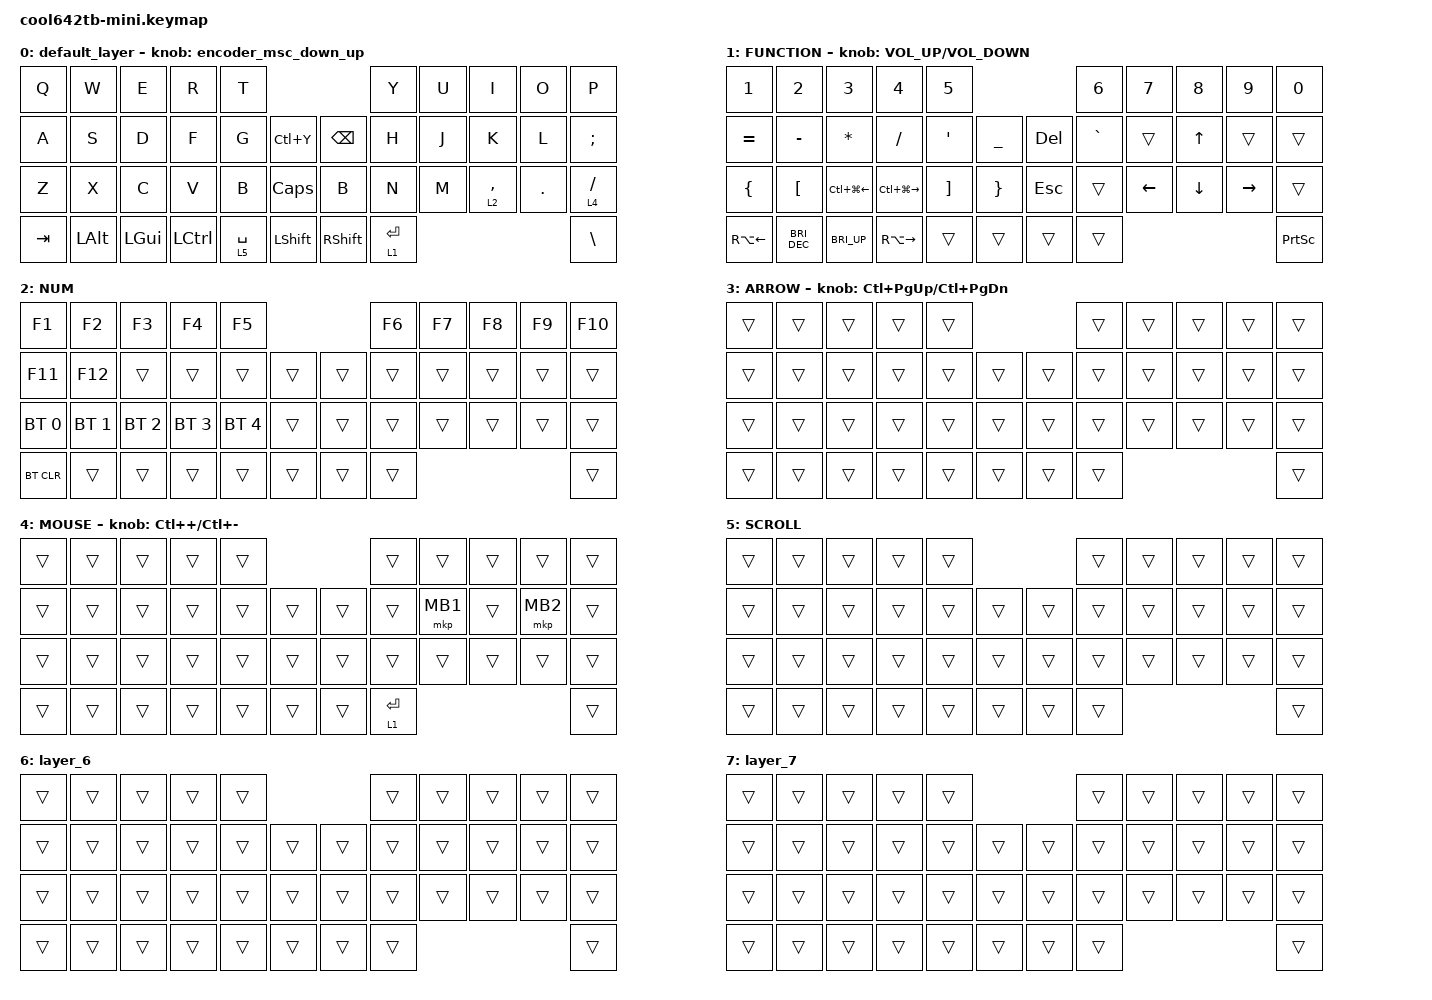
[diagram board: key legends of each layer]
#include <behaviors.dtsi>
#include <dt-bindings/zmk/bt.h>
#include <dt-bindings/zmk/keys.h>
#include <dt-bindings/zmk/pointing.h>

#define MOUSE 4
#define SCROLL 5
#define NUM 6
#define ZMK_POINTING_DEFAULT_SCRL_VAL 80

&mt {
    flavor = "balanced";
    quick-tap-ms = <0>;
};

/ {
    combos {
        compatible = "zmk,combos";

        shift_tab {
            bindings = <&kp LANG2>;
            key-positions = <12 13>;
            layers = <0>;
        };

        lang {
            bindings = <&kp LANG1>;
            key-positions = <18 19>;
            layers = <0>;
        };
    };

    behaviors {
        encoder_msc_down_up: encoder_msc_down_up {
            compatible = "zmk,behavior-sensor-rotate";
            label = "ENCODER_MSC_DOWN_UP";
            #sensor-binding-cells = <0>;
            bindings = <&msc SCRL_UP>, <&msc SCRL_DOWN>;

            tap-ms = <20>;
        };
    };

    keymap {
        compatible = "zmk,keymap";

        default_layer {
            bindings = <
&kp Q    &kp W         &kp E         &kp R             &kp T                                           &kp Y        &kp U  &kp I        &kp O       &kp P
&kp A    &kp S         &kp D         &kp F             &kp G        &kp LC(Y)           &kp BACKSPACE  &kp H        &kp J  &kp K        &kp L       &kp SEMICOLON
&kp Z    &kp X         &kp C         &kp V             &kp B        &kp CAPSLOCK        &kp B          &kp N        &kp M  &lt 2 COMMA  &kp PERIOD  &lt 4 SLASH
&kp TAB  &kp LEFT_ALT  &kp LEFT_GUI  &kp LEFT_CONTROL  &lt 5 SPACE  &kp LEFT_SHIFT      &kp RSHFT      &lt 1 ENTER                                  &kp BACKSLASH
            >;

            sensor-bindings = <&encoder_msc_down_up>;
        };

        FUNCTION {
            bindings = <
&kp N1              &kp N2                &kp N3                  &kp N4                   &kp N5                                              &kp N6     &kp N7          &kp N8          &kp N9           &kp N0
&kp EQUAL           &kp MINUS             &kp ASTRK               &kp SLASH                &kp APOS           &kp UNDER            &kp DELETE  &kp GRAVE  &trans          &kp UP_ARROW    &trans           &trans
&kp LEFT_BRACE      &kp LEFT_BRACKET      &kp LC(LG(LEFT_ARROW))  &kp LC(LG(RIGHT_ARROW))  &kp RIGHT_BRACKET  &kp RIGHT_BRACE      &kp ESCAPE  &trans     &kp LEFT_ARROW  &kp DOWN_ARROW  &kp RIGHT_ARROW  &trans
&kp RA(LEFT_ARROW)  &kp C_BRIGHTNESS_DEC  &kp C_BRI_UP            &kp RA(RIGHT_ARROW)      &trans             &trans               &trans      &trans                                                      &kp PRINTSCREEN
            >;

            sensor-bindings = <&inc_dec_kp C_VOLUME_UP C_VOLUME_DOWN>;
        };

        NUM {
            bindings = <
&kp F1        &kp F2        &kp F3        &kp F4        &kp F5                            &kp F6  &kp F7  &kp F8  &kp F9  &kp F10
&kp F11       &kp F12       &trans        &trans        &trans        &trans      &trans  &trans  &trans  &trans  &trans  &trans
&bt BT_SEL 0  &bt BT_SEL 1  &bt BT_SEL 2  &bt BT_SEL 3  &bt BT_SEL 4  &trans      &trans  &trans  &trans  &trans  &trans  &trans
&bt BT_CLR    &trans        &trans        &trans        &trans        &trans      &trans  &trans                          &trans
            >;
        };

        ARROW {
            bindings = <
&trans  &trans  &trans  &trans  &trans                      &trans  &trans  &trans  &trans  &trans
&trans  &trans  &trans  &trans  &trans  &trans      &trans  &trans  &trans  &trans  &trans  &trans
&trans  &trans  &trans  &trans  &trans  &trans      &trans  &trans  &trans  &trans  &trans  &trans
&trans  &trans  &trans  &trans  &trans  &trans      &trans  &trans                          &trans
            >;

            sensor-bindings = <&inc_dec_kp LC(PAGE_UP) LC(PAGE_DOWN)>;
        };

        MOUSE {
            bindings = <
&trans  &trans  &trans  &trans  &trans                      &trans       &trans    &trans  &trans    &trans
&trans  &trans  &trans  &trans  &trans  &trans      &trans  &trans       &mkp MB1  &trans  &mkp MB2  &trans
&trans  &trans  &trans  &trans  &trans  &trans      &trans  &trans       &trans    &trans  &trans    &trans
&trans  &trans  &trans  &trans  &trans  &trans      &trans  &lt 1 ENTER                              &trans
            >;

            sensor-bindings = <&inc_dec_kp LC(PLUS) LC(MINUS)>;
        };

        SCROLL {
            bindings = <
&trans  &trans  &trans  &trans  &trans                      &trans  &trans  &trans  &trans  &trans
&trans  &trans  &trans  &trans  &trans  &trans      &trans  &trans  &trans  &trans  &trans  &trans
&trans  &trans  &trans  &trans  &trans  &trans      &trans  &trans  &trans  &trans  &trans  &trans
&trans  &trans  &trans  &trans  &trans  &trans      &trans  &trans                          &trans
            >;
        };

        layer_6 {
            bindings = <
&trans  &trans  &trans  &trans  &trans                      &trans  &trans  &trans  &trans  &trans
&trans  &trans  &trans  &trans  &trans  &trans      &trans  &trans  &trans  &trans  &trans  &trans
&trans  &trans  &trans  &trans  &trans  &trans      &trans  &trans  &trans  &trans  &trans  &trans
&trans  &trans  &trans  &trans  &trans  &trans      &trans  &trans                          &trans
            >;
        };

        layer_7 {
            bindings = <
&trans  &trans  &trans  &trans  &trans                      &trans  &trans  &trans  &trans  &trans
&trans  &trans  &trans  &trans  &trans  &trans      &trans  &trans  &trans  &trans  &trans  &trans
&trans  &trans  &trans  &trans  &trans  &trans      &trans  &trans  &trans  &trans  &trans  &trans
&trans  &trans  &trans  &trans  &trans  &trans      &trans  &trans                          &trans
            >;
        };
    };
};
